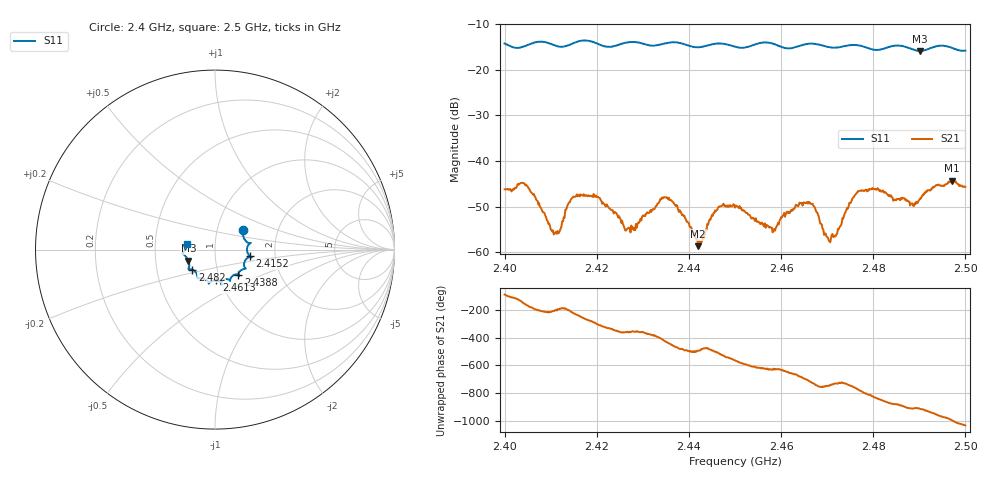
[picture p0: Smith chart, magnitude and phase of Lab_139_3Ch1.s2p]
# Hz S RI R 50
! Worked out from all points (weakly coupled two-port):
!   601 points, 2.4 GHz to 2.5 GHz, reference 50 ohm
!   highest |S21| = -44.29 dB at 2.497 GHz (marker M1); lowest = -58.7 dB at 2.442 GHz (marker M2)
!   lowest |S11| = -15.9 dB at 2.4902 GHz (marker M3), VSWR 1.38, Z = 36.8 - j4.67 ohm
!   |S11| at or under -10 dB: start of sweep to end of sweep
!   S12 and S22 are empty: the file has one direction only
!   S11 on the Smith chart (normalised r, x): 2.4 GHz: 1.33, +0.31; 2.4152 GHz: 1.48, -0.12; 2.4388 GHz: 1.24, -0.36; 2.4613 GHz: 0.96, -0.34; 2.482 GHz: 0.76, -0.17; 2.5 GHz: 0.72, +0.05
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2.4e9  0.158 0.1118  0.000315 -0.00488  0 0  0 0
2.4045e9  0.1768 0.0425  -0.00495 -0.00215  0 0  0 0
2.411167e9  0.1815 0.0179  -0.0016 0.000485  0 0  0 0
2.415167e9  0.1938 -0.0376  -0.00289 0.00283  0 0  0 0
2.416667e9  0.2033 -0.0441  -0.00156 0.00395  0 0  0 0
2.420333e9  0.186 -0.0441  0.00231 0.00331  0 0  0 0
2.426833e9  0.1705 -0.1044  0.00185 4.98e-07  0 0  0 0
2.433333e9  0.1323 -0.1315  0.00278 -0.00202  0 0  0 0
2.438833e9  0.1297 -0.1407  -0.00153 -0.00198  0 0  0 0
2.442e9  0.0993 -0.1453  -0.000794 -0.000853  0 0  0 0
2.446167e9  0.0842 -0.1744  -0.00243 -0.00164  0 0  0 0
2.45e9  0.0689 -0.1649  -0.00281 0.00127  0 0  0 0
2.458333e9  0.0366 -0.1888  -0.00018 0.00173  0 0  0 0
2.461333e9  0.0077 -0.1711  0.000851 0.00265  0 0  0 0
2.466667e9  -0.0349 -0.19  0.00337 -0.000341  0 0  0 0
2.470333e9  -0.0466 -0.1707  0.00119 -0.000658  0 0  0 0
2.4765e9  -0.0961 -0.159  0.0028 -0.00352  0 0  0 0
2.482e9  -0.1256 -0.1117  -0.00328 -0.00343  0 0  0 0
2.483333e9  -0.1395 -0.1088  -0.00366 -0.00193  0 0  0 0
2.490167e9  -0.1482 -0.0618  -0.00374 0.00104  0 0  0 0
2.497e9  -0.1739 -0.011  0.000692 0.00606  0 0  0 0
2.5e9  -0.1587 0.0325  0.00372 0.00363  0 0  0 0
